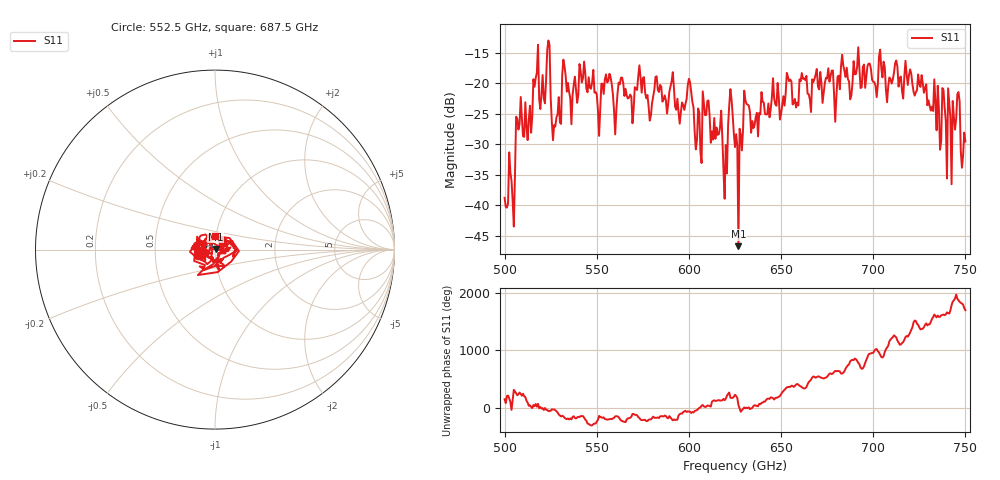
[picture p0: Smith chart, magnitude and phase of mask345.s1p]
!Created with skrf (http://scikit-rf.org).
# GHz S MA R 50.0
!freq magS11 angS11
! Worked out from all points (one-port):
!   401 points, 500 GHz to 750 GHz, reference 50 ohm
!   lowest |S11| = -46.7 dB at 626.9 GHz (marker M1), VSWR 1.01, Z = 50.3 + j0.351 ohm
!   |S11| at or under -10 dB: start of sweep to end of sweep
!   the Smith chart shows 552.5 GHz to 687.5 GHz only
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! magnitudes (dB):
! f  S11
! 500 GHz  -38.8
! 504.4 GHz  -39.3
! 507.5 GHz  -27.6
! 513.8 GHz  -23.7
! 516.9 GHz  -19.1
! 520.6 GHz  -18.7
! 523.8 GHz  -13.0
! 526.9 GHz  -26.9
! 531.2 GHz  -18.6
! 556.2 GHz  -19.7
! 560 GHz  -28.4
! 562.5 GHz  -20.2
! 593.8 GHz  -22.5
! 600.6 GHz  -19.9
! 605.6 GHz  -24.8
! 608.8 GHz  -25.3
! 619.4 GHz  -38.9
! 622.5 GHz  -21.0
! 625 GHz  -30.5
! 626.9 GHz  -46.7
! 631.2 GHz  -23.4
! 635 GHz  -27.4
! 656.2 GHz  -23.5
! 687.5 GHz  -22.6
! 718.8 GHz  -20.3
! 741.2 GHz  -23.2
! 745.6 GHz  -21.8
! 750 GHz  -29.5
